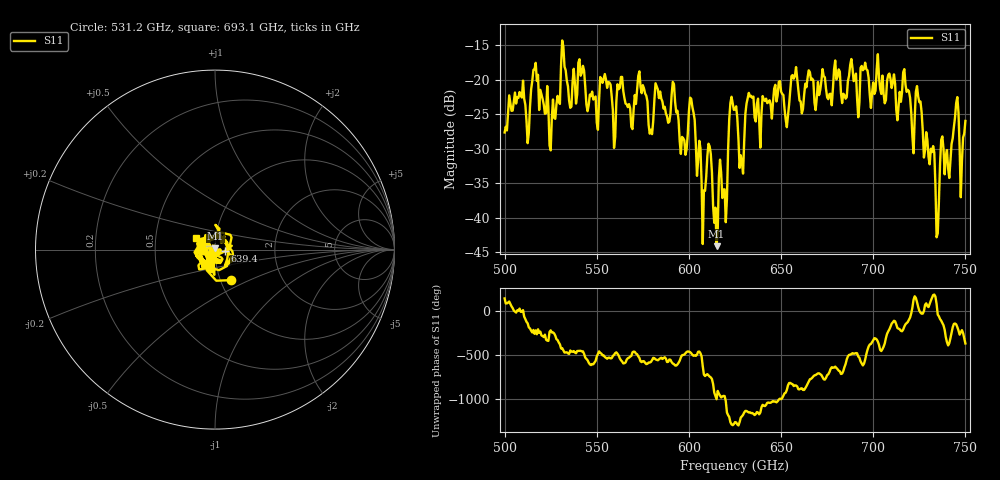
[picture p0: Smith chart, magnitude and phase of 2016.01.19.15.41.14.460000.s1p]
!Created with skrf (http://scikit-rf.org).
# GHz S RI R 50.0
!freq ReS11 ImS11
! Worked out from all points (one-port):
!   401 points, 500 GHz to 750 GHz, reference 50 ohm
!   lowest |S11| = -44.1 dB at 615 GHz (marker M1), VSWR 1.01, Z = 50.1 + j0.618 ohm
!   |S11| at or under -10 dB: start of sweep to end of sweep
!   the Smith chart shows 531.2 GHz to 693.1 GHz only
!   S11 on the Smith chart (normalised r, x): 531.2 GHz: 1.12, -0.40; 639.4 GHz: 1.12, -0.02; 693.1 GHz: 0.81, +0.11
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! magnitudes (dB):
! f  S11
! 500 GHz  -27.6
! 508.8 GHz  -22.2
! 512.5 GHz  -29.2
! 516.9 GHz  -17.6
! 525.6 GHz  -25.5
! 531.2 GHz  -14.3
! 555.6 GHz  -21.2
! 559.4 GHz  -29.9
! 562.5 GHz  -21.2
! 593.8 GHz  -24.5
! 598.1 GHz  -30.9
! 601.9 GHz  -24.0
! 608.1 GHz  -36.0
! 611.2 GHz  -29.6
! 615 GHz  -44.1
! 625 GHz  -24.3
! 628.1 GHz  -30.9
! 632.5 GHz  -21.9
! 639.4 GHz  -24.8
! 656.2 GHz  -19.3
! 687.5 GHz  -17.9
! 693.1 GHz  -18.3
! 718.8 GHz  -21.5
! 725 GHz  -23.3
! 735 GHz  -42.2
! 745 GHz  -23.4
! 748.1 GHz  -31.8
! 750 GHz  -26.0
